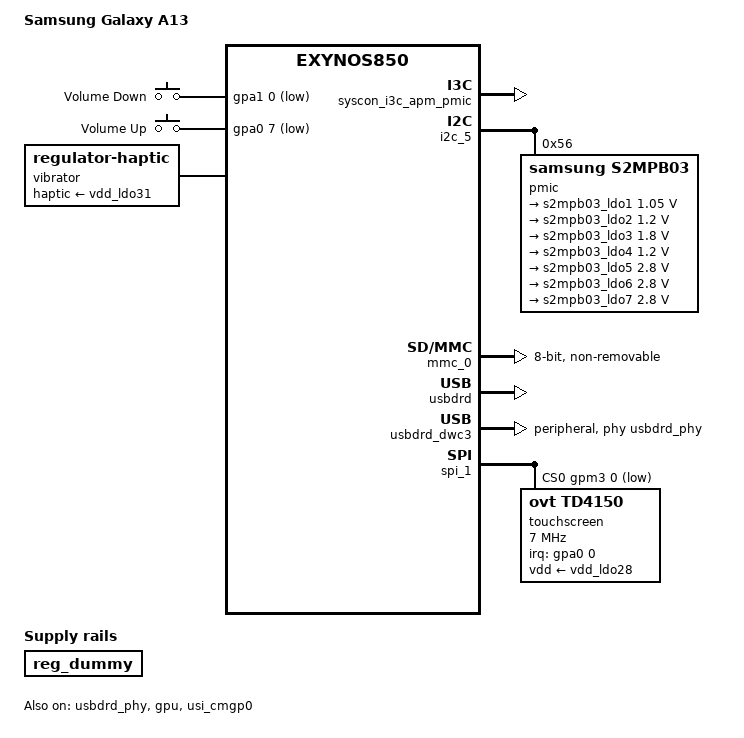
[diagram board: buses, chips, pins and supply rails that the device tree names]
// SPDX-License-Identifier: GPL-2.0 OR BSD-3-Clause
/*
 * Samsung Galaxy A13 (SM-A135F) common device tree source
 *
 * Copyright (c) 2026, schoosh212 <superaviation001@gmail.com>
 */

/dts-v1/;
#include "exynos850.dtsi"
#include <dt-bindings/gpio/gpio.h>
#include <dt-bindings/input/input.h>
#include <dt-bindings/interrupt-controller/irq.h>

/ {
	model = "Samsung Galaxy A13";
	compatible = "samsung,a135f", "samsung,exynos850";

	#address-cells = <2>;
	#size-cells = <2>;

	chosen {
		#address-cells = <2>;
		#size-cells = <2>;
		ranges;

		bootargs = "clk_ignore_unused pd_ignore_unused regulator_ignore_unused";

		framebuffer@fa000000 {
			compatible = "simple-framebuffer";
			reg = <0 0xfa000000 0 (1080 * 2408 * 4)>;
			width = <1080>;
			height = <2408>;
			stride = <(1080 * 4)>;
			format = "a8r8g8b8";
		};
	};

	/*
	 * System controller windows used by the WLBT connectivity
	 * subsystem below to configure its bus address access windows
	 * and boot configuration.
	 */
	syscon_i3c_apm_pmic: syscon@11a50000 {
		compatible = "syscon";
		reg = <0x0 0x11a50000 0x1800>;
	};

	syscon_dbus_baaw: syscon@14c20000 {
		compatible = "syscon";
		reg = <0x0 0x14c20000 0x300>;
	};

	syscon_pbus_baaw: syscon@14c30000 {
		compatible = "syscon";
		reg = <0x0 0x14c30000 0x300>;
	};

	syscon_wlbt_remap: syscon@14c50000 {
		compatible = "syscon";
		reg = <0x0 0x14c50000 0x500>;
	};

	syscon_boot_cfg: syscon@14c60000 {
		compatible = "syscon";
		reg = <0x0 0x14c60000 0x1200>;
	};

	wlbt: wlbt@119c0000 {
		compatible = "samsung,exynos850-wlbt";
		reg = <0x0 0x119c0000 0x180>;

		interrupt-parent = <&gic>;
		interrupts = <GIC_SPI 54 IRQ_TYPE_LEVEL_HIGH>,
			     <GIC_SPI 38 IRQ_TYPE_LEVEL_HIGH>,
			     <GIC_SPI 230 IRQ_TYPE_LEVEL_HIGH>,
			     <GIC_SPI 231 IRQ_TYPE_LEVEL_HIGH>;
		interrupt-names = "MBOX", "ALIVE", "CFG_REQ", "WDOG";

		samsung,syscon-phandle = <&pmu_system_controller>;
		samsung,i3c_apm_pmic-syscon-phandle = <&syscon_i3c_apm_pmic>;
		samsung,dbus_baaw-syscon-phandle = <&syscon_dbus_baaw>;
		samsung,pbus_baaw-syscon-phandle = <&syscon_pbus_baaw>;
		samsung,wlbt_remap-syscon-phandle = <&syscon_wlbt_remap>;
		samsung,boot_cfg-syscon-phandle = <&syscon_boot_cfg>;

		qos_table = <0x664b8 0x186a0 0x62638 0xe4840
			     0xf78f0 0x82208 0xde2b0 0x196400
			     0x1fefc8 0xa2d78 0x1a94b0 0x234f10>;
	};

	reserved-memory {
		#address-cells = <2>;
		#size-cells = <2>;
		ranges;

		ramoops@f0f10000 {
			compatible = "ramoops";
			reg = <0 0xf0f10000 0 0x8000>;
			record-size = <0x2000>;
			console-size = <0x4000>;
			ftrace-size = <0>;
			pmsg-size = <0x2000>;
		};

		framebuffer@fa000000 {
			reg = <0 0xfa000000 0 (1080 * 2408 * 4)>;
			no-map;
		};

		abox_reserved: audio@e9400000 {
			reg = <0 0xe9400000 0 0x400000>;
			no-map;
		};

	};

	rtcclk: clock-rtcclk {
		compatible = "fixed-clock";
		clock-output-names = "rtcclk";
		#clock-cells = <0>;
		clock-frequency = <32768>;
	};

	/* TODO: Remove this once PMIC is implemented  */
	reg_dummy: regulator-0 {
		compatible = "regulator-fixed";
		regulator-name = "dummy_reg";
	};

	gpio-keys {
		compatible = "gpio-keys";

		pinctrl-0 = <&key_voldown &key_volup>;
		pinctrl-names = "default";

		voldown-key {
			label = "Volume Down";
			linux,code = <KEY_VOLUMEDOWN>;
			gpios = <&gpa1 0 GPIO_ACTIVE_LOW>;
			wakeup-source;
		};

		volup-key {
			label = "Volume Up";
			linux,code = <KEY_VOLUMEUP>;
			gpios = <&gpa0 7 GPIO_ACTIVE_LOW>;
		};
	};

	vibrator {
		compatible = "regulator-haptic";
		haptic-supply = <&vdd_ldo31>;
		min-microvolt = <3000000>;
		max-microvolt = <3000000>;
	};
};

&acpm_ipc {
        pmic-1 {
		compatible = "samsung,s2mpu12-pmic";
		interrupts = <GIC_SPI 56 IRQ_TYPE_LEVEL_HIGH>;
		pinctrl-names = "default";
		pinctrl-0 = <&pmic_int>;
		system-power-controller;
		wtsr_en = "enabled";
		smpl_en = "enabled";
		wtsr_timer_val = <3>;
		smpl_timer_val = <0>;
		check_jigon = <0>;
		wakeup-source;


		/* ldos 11-23 are disabled by samsung. disable them here too. */
		regulators {
			vdd_buck1: buck1 {
				regulator-name = "vdd_cpu";
				regulator-min-microvolt = <500000>;
				regulator-max-microvolt = <1200000>;
				regulator-ramp-delay = <6000>;
				regulator-always-on;
			};

			vdd_buck2: buck2 {
				regulator-name = "vdd_gpu";
				regulator-min-microvolt = <500000>;
				regulator-max-microvolt = <1200000>;
				regulator-always-on;
				regulator-ramp-delay = <6000>;
			};

			vdd_buck4: buck4 {
				regulator-name = "vdd_lldo";
				regulator-min-microvolt = <900000>;
				regulator-max-microvolt = <1500000>;
				regulator-always-on;
				regulator-ramp-delay = <6000>;
			};

			vdd_buck5: buck5 {
				regulator-name = "vdd_mldo";
				regulator-min-microvolt = <1800000>;
				regulator-max-microvolt = <2100000>;
				regulator-always-on;
				regulator-ramp-delay = <6000>;
			};

			vdd_ldo1: ldo1 {
				regulator-name = "vdd_ldo1";
				regulator-min-microvolt = <700000>;
				regulator-max-microvolt = <1300000>;
				regulator-ramp-delay = <12000>;
				regulator-always-on;
			};

			vdd_ldo2: ldo2 {
				regulator-name = "vdd_ldo2";
				regulator-min-microvolt = <1600000>;
				regulator-max-microvolt = <1950000>;
				regulator-ramp-delay = <12000>;
				regulator-always-on;
			};

			vdd_ldo3: ldo3 {
				regulator-name = "vdd_ldo3";
				regulator-min-microvolt = <700000>;
				regulator-max-microvolt = <1300000>;
				regulator-ramp-delay = <12000>;
				regulator-always-on;
			};

			vdd_ldo4: ldo4 {
				regulator-name = "vdd_ldo4";
				regulator-min-microvolt = <1600000>;
				regulator-max-microvolt = <1950000>;
				regulator-ramp-delay = <12000>;
				regulator-always-on;
			};

			vdd_ldo5: ldo5 {
				regulator-name = "vdd_ldo5";
				regulator-min-microvolt = <700000>;
				regulator-max-microvolt = <1300000>;
				regulator-ramp-delay = <12000>;
				regulator-always-on;
			};

			vdd_ldo6: ldo6 {
				regulator-name = "vdd_ldo6";
				regulator-min-microvolt = <500000>;
				regulator-max-microvolt = <1187500>;
				regulator-ramp-delay = <12000>;
				regulator-always-on;
			};

			vdd_ldo7: ldo7 {
				regulator-name = "vdd_ldo7";
				regulator-min-microvolt = <700000>;
				regulator-max-microvolt = <1300000>;
				regulator-ramp-delay = <12000>;
				regulator-always-on;
			};

			vdd_ldo8: ldo8 {
				regulator-name = "vdd_ldo8";
				regulator-min-microvolt = <500000>;
				regulator-max-microvolt = <1300000>;
				regulator-ramp-delay = <12000>;
				regulator-always-on;
			};

			vdd_ldo9: ldo9 {
				regulator-name = "vdd_ldo9";
				regulator-min-microvolt = <500000>;
				regulator-max-microvolt = <1300000>;
				regulator-ramp-delay = <12000>;
				regulator-always-on;
			};

			/* vqmmc */
			vdd_ldo10: ldo10 {
				regulator-name = "vdd_ldo10";
				regulator-min-microvolt = <1800000>;
				regulator-max-microvolt = <3375000>;
				regulator-ramp-delay = <12000>;
			};

			vdd_ldo11: ldo11 {
				regulator-name = "vdd_ldo11";
				regulator-min-microvolt = <1800000>;
				regulator-max-microvolt = <3375000>;
				regulator-ramp-delay = <12000>;
				regulator-always-on;
			};

			vdd_ldo23: ldo23 {
				regulator-name = "vdd_ldo23";
				regulator-min-microvolt = <1800000>;
				regulator-max-microvolt = <3375000>;
				regulator-ramp-delay = <12000>;
				regulator-always-on;
			};

			/* vmmc */
			vdd_ldo24: ldo24 {
				regulator-name = "vdd_ldo24";
				regulator-min-microvolt = <1800000>;
				regulator-max-microvolt = <2950000>;
				regulator-ramp-delay = <12000>;
			};

			vdd_ldo25: ldo25 {
				regulator-name = "vdd_ldo25";
				regulator-min-microvolt = <2800000>;
				regulator-max-microvolt = <2800000>;
				regulator-ramp-delay = <12000>;
			};

			vdd_ldo26: ldo26 {
				regulator-name = "vdd_btp_3p3";
				regulator-min-microvolt = <3300000>;
				regulator-max-microvolt = <3375000>;
				regulator-ramp-delay = <12000>;
			};

			vdd_ldo27: ldo27 {
				regulator-name = "vdd_grip_3p3";
				regulator-min-microvolt = <3300000>;
				regulator-max-microvolt = <3300000>;
				regulator-ramp-delay = <12000>;
				regulator-boot-on;
			};

			/* lcd_vddi */
			vdd_ldo28: ldo28 {
				regulator-name = "vdd_ldo28";
				regulator-min-microvolt = <1800000>;
				regulator-max-microvolt = <1800000>;
				regulator-ramp-delay = <12000>;
				regulator-boot-on;
			};

			vdd_ldo29: ldo29 {
				regulator-name = "vdd_ldo29";
				regulator-min-microvolt = <700000>;
				regulator-max-microvolt = <1300000>;
				regulator-ramp-delay = <12000>;
				regulator-always-on;
			};

			vdd_ldo30: ldo30 {
				regulator-name = "vdd_sensor_1p8";
				regulator-min-microvolt = <1800000>;
				regulator-max-microvolt = <1800000>;
				regulator-ramp-delay = <12000>;
			};

			vdd_ldo31: ldo31 {
				regulator-name = "vdd_motor_3p3";
				regulator-min-microvolt = <3000000>;
				regulator-max-microvolt = <3000000>;
				regulator-ramp-delay = <12000>;
			};

			vdd_ldo32: ldo32 {
				regulator-name = "vdd_ldo32";
				regulator-min-microvolt = <2800000>;
				regulator-max-microvolt = <2800000>;
				regulator-ramp-delay = <12000>;
			};

			vdd_ldo33: ldo33 {
				regulator-name = "vdd_aldo1";
				regulator-min-microvolt = <1600000>;
				regulator-max-microvolt = <1950000>;
				regulator-ramp-delay = <12000>;
				regulator-always-on;
			};

			vdd_ldo34: ldo34 {
				regulator-name = "vdd_aldo2";
				regulator-min-microvolt = <1800000>;
				regulator-max-microvolt = <3375000>;
				regulator-ramp-delay = <12000>;
				regulator-always-on;
			};

			vdd_ldo35: ldo35 {
				regulator-name = "vdd_ldo_core";
				regulator-min-microvolt = <1600000>;
				regulator-max-microvolt = <1950000>;
				regulator-ramp-delay = <12000>;
				regulator-always-on;
			};

			vdd_ldo36: ldo36 {
				regulator-name = "vdd_ldo_buf";
				regulator-min-microvolt = <700000>;
				regulator-max-microvolt = <1300000>;
				regulator-ramp-delay = <12000>;
				regulator-always-on;
			};
		};
	};
};

&i2c_5 {

	status = "okay";

	pmic@56 {
		compatible = "samsung,s2mpb03";
		reg = <0x56>;

		regulators {
			s2mpb03_ldo1: s2mpb03-ldo1 {
				regulator-name = "cam-ldo1";
				regulator-min-microvolt = <1050000>;
				regulator-max-microvolt = <1050000>;
			};

			s2mpb03_ldo2: s2mpb03-ldo2 {
				regulator-name = "cam-ldo2";
				regulator-min-microvolt = <1200000>;
				regulator-max-microvolt = <1200000>;
			};

			s2mpb03_ldo3: s2mpb03-ldo3 {
				regulator-name = "cam-ldo3";
				regulator-min-microvolt = <1800000>;
				regulator-max-microvolt = <1800000>;
			};

			s2mpb03_ldo4: s2mpb03-ldo4 {
				regulator-name = "cam-ldo4";
				regulator-min-microvolt = <1200000>;
				regulator-max-microvolt = <1200000>;
			};

			s2mpb03_ldo5: s2mpb03-ldo5 {
				regulator-name = "cam-ldo5";
				regulator-min-microvolt = <2800000>;
				regulator-max-microvolt = <2800000>;
			};

			s2mpb03_ldo6: s2mpb03-ldo6 {
				regulator-name = "cam-ldo6";
				regulator-min-microvolt = <2800000>;
				regulator-max-microvolt = <2800000>;
			};

			s2mpb03_ldo7: s2mpb03-ldo7 {
				regulator-name = "cam-ldo7";
				regulator-min-microvolt = <2800000>;
				regulator-max-microvolt = <2800000>;
			};
		};
	};
};

&oscclk {
	clock-frequency = <26000000>;
};

&timer {
	clock-frequency = <26000000>;
};


/* disable rtc here */
&rtc {
	status = "disabled";
	clocks = <&cmu_apm CLK_GOUT_RTC_PCLK>, <&rtcclk>;
	clock-names = "rtc", "rtc_src";
};

&pinctrl_alive {
	key_voldown: key-voldown-pins {
		samsung,pins = "gpa1-0";
		samsung,pin-function = <EXYNOS_PIN_FUNC_EINT>;
		samsung,pin-pud = <EXYNOS_PIN_PULL_NONE>;
		samsung,pin-drv = <EXYNOS5420_PIN_DRV_LV1>;
	};

	key_volup: key-volup-pins {
		samsung,pins = "gpa0-7";
		samsung,pin-function = <EXYNOS_PIN_FUNC_EINT>;
		samsung,pin-pud = <EXYNOS_PIN_PULL_NONE>;
		samsung,pin-drv = <EXYNOS5420_PIN_DRV_LV1>;
	};
};

&pinctrl_peri {
	pmic_int: pmic-int-pins {
		samsung,pins = "gpg1-5";
		samsung,pin-function = <EXYNOS_PIN_FUNC_OUTPUT>;
		samsung,pin-pud = <EXYNOS_PIN_PULL_NONE>;
		samsung,pin-drv = <EXYNOS5420_PIN_DRV_LV1>;
	};
};

&cmu_hsi {
	clocks = <&oscclk>, <&rtcclk>,
		 <&cmu_top CLK_DOUT_HSI_BUS>,
		 <&cmu_top CLK_DOUT_HSI_MMC_CARD>,
		 <&cmu_top CLK_DOUT_HSI_USB20DRD>;
	clock-names = "oscclk", "rtcclk", "dout_hsi_bus",
		      "dout_hsi_mmc_card", "dout_hsi_usb20drd";
};

&mmc_0 {
	status = "okay";
	compatible = "samsung,exynos7-dw-mshc";
	mmc-ddr-1_8v;
	mmc-hs200-1_8v;
	mmc-hs400-1_8v;
	cap-mmc-highspeed;
	non-removable;
	mmc-hs400-enhanced-strobe;
	card-detect-delay = <200>;
	clock-frequency = <800000000>;
	bus-width = <8>;
	samsung,dw-mshc-ciu-div = <3>;
	samsung,dw-mshc-sdr-timing = <0 4>;
	samsung,dw-mshc-ddr-timing = <2 4>;
	samsung,dw-mshc-hs400-timing = <0 2>;

	pinctrl-names = "default";
	pinctrl-0 = <&sd0_clk_pins &sd0_cmd_pins &sd0_rdqs_pins &sd0_nreset_pins
		     &sd0_bus1_pins &sd0_bus4_pins &sd0_bus8_pins>;
};

&usbdrd {
        status = "okay";
        /delete-property/ extcon;
        /delete-property/ pinctrl-names;
        /delete-property/ pinctrl-0;
        vdd10-supply = <&reg_dummy>;
        vdd33-supply = <&reg_dummy>;
};

&usbdrd_dwc3 {
        status = "okay";
        dr_mode = "peripheral";
        maximum-speed = "high-speed";
        /delete-property/ extcon;
        phys = <&usbdrd_phy 0>;
        phy-names = "usb2-phy";
};

&usbdrd_phy {
        status = "okay";
        /delete-property/ extcon;
        /delete-property/ pinctrl-names;
        /delete-property/ pinctrl-0;
        vdd-supply = <&reg_dummy>;
        vbus-supply = <&reg_dummy>;
};

&gpu {
	mali-supply = <&vdd_buck2>;
	status = "okay";
};

&usi_cmgp0 {
	samsung,mode = <USI_MODE_SPI>;
	status = "okay";
};

&spi_1 {
	status = "okay";

	#address-cells = <1>;
	#size-cells = <0>;

	num-cs = <1>;
	cs-gpios = <&gpm3 0 GPIO_ACTIVE_LOW>;

	touchscreen@0 {
		compatible = "ovt,td4150";
		reg = <0>;
		spi-max-frequency = <7000000>;
		spi-cpol;
		spi-cpha;

		interrupt-parent = <&gpa0>;
		interrupts = <0 IRQ_TYPE_LEVEL_LOW>;

		vdd-supply = <&vdd_ldo28>;
	};
};
